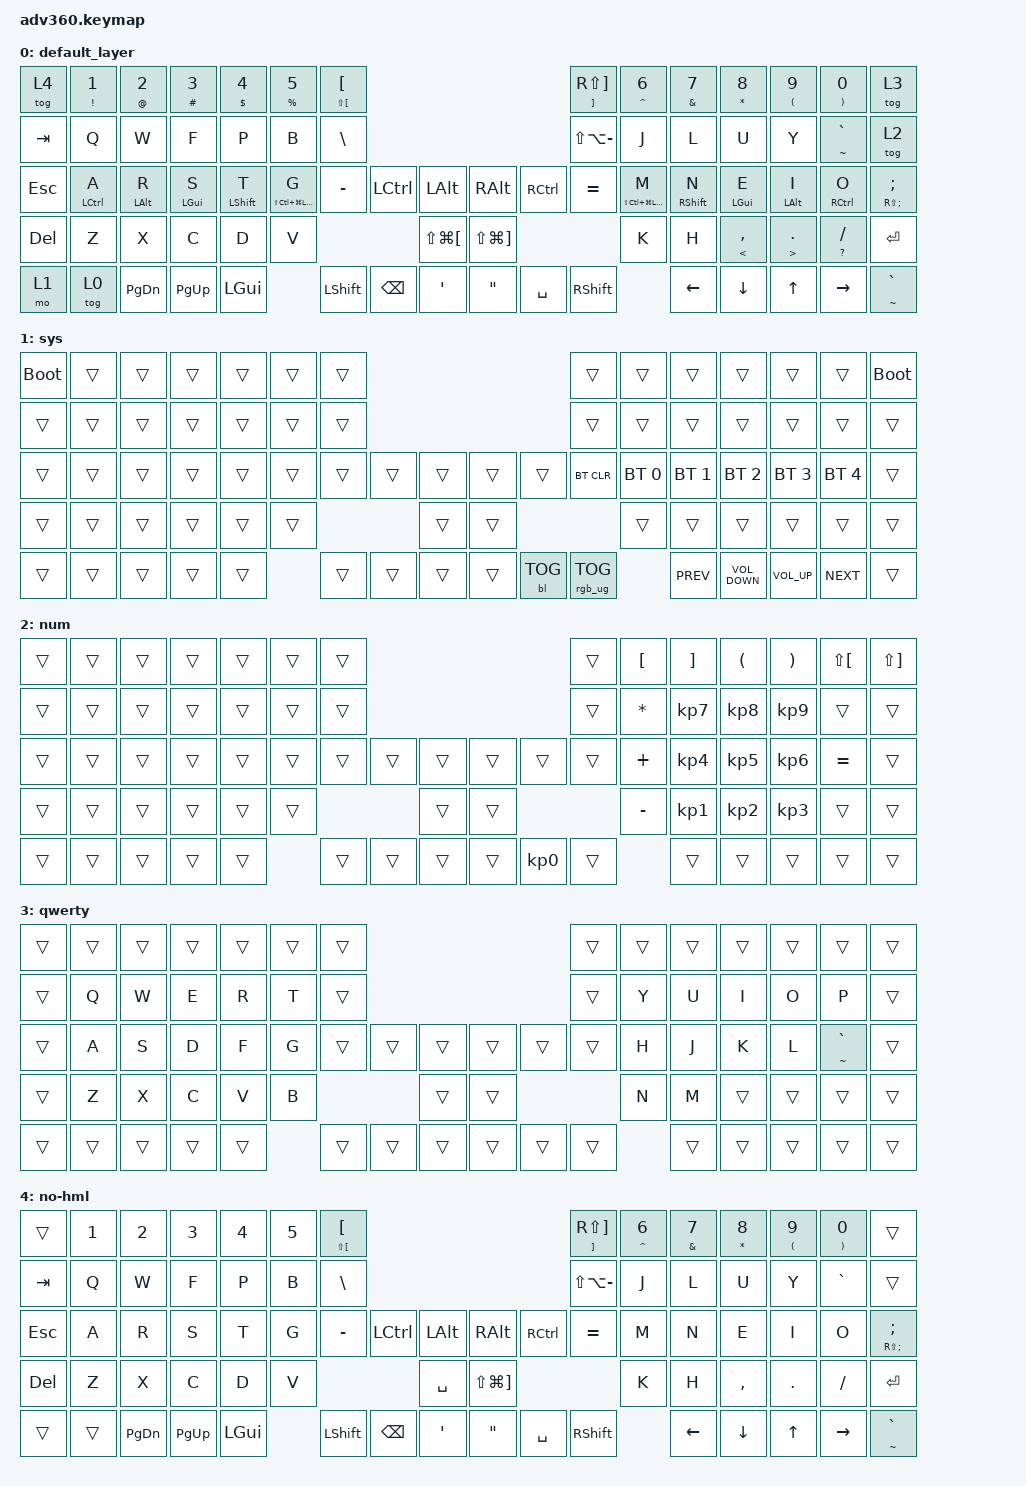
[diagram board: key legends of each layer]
#include <behaviors.dtsi>
#include <dt-bindings/zmk/backlight.h>
#include <dt-bindings/zmk/bt.h>
#include <dt-bindings/zmk/keys.h>
#include <dt-bindings/zmk/keys.h>
#include <dt-bindings/zmk/rgb.h>

/ {
    behaviors {
        #include "macros.dtsi"

        hm: homerow_mods {
            compatible = "zmk,behavior-hold-tap";
            label = "HOMEROW_MODS";
            #binding-cells = <2>;
            tapping-term-ms = <200>;
            quick_tap_ms = <175>;
            flavor = "tap-preferred";
            bindings = <&kp>, <&kp>;
        };

        hml: hml {
            compatible = "zmk,behavior-hold-tap";
            label = "HML";
            bindings = <&kp>, <&kp>;

            #binding-cells = <2>;
            tapping-term-ms = <280>;
            quick-tap-ms = <150>;
            global-quick-tap;
            flavor = "balanced";
            hold-trigger-key-positions = <7 8 9 10 11 12 13 21 22 23 24 25 26 27 38 39 40 41 42 43 44 45 54 55 56 57 58 59 71 72 73 74 75 35 36 37 38 52 53 65 66 67 68 69 70 71>;
            hold-trigger-on-release;
        };

        cpy_pst: cpy_pst {
            compatible = "zmk,behavior-tap-dance";
            label = "CPY_PST";
            #binding-cells = <0>;
            bindings = <&kp LC(C)>, <&kp LC(V)>;

            tapping-term-ms = <125>;
        };

        hmr: hmr {
            compatible = "zmk,behavior-hold-tap";
            label = "HMR";
            bindings = <&kp>, <&kp>;

            #binding-cells = <2>;
            tapping-term-ms = <280>;
            quick-tap-ms = <175>;
            global-quick-tap;
            flavor = "balanced";
            hold-trigger-key-positions = <0 1 2 3 4 5 6 14 15 16 17 18 19 20 28 29 30 31 32 33 34 35 36 37 38 46 47 48 49 50 51 52 53 60 61 62 63 64 65 66 67 68 69 70>;
            hold-trigger-on-release;
        };
    };

    combos {
        compatible = "zmk,combos";

        sleep {
            bindings = <&kt LA(LG(C_EJECT))>;
            key-positions = <0 13>;
        };
    };

    keymap {
        compatible = "zmk,keymap";

        default_layer {
            bindings = <
&tog 4      &mt EXCLAMATION NUMBER_1  &mt AT_SIGN NUMBER_2  &mt HASH NUMBER_3  &mt DOLLAR NUMBER_4  &mt PERCENT NUMBER_5         &mt LS(LBKT) LBKT                                                                     &mt RBKT RS(RBKT)  &mt CARET NUMBER_6           &mt AMPERSAND NUMBER_7  &mt ASTERISK NUMBER_8  &mt LEFT_PARENTHESIS NUMBER_9  &mt RIGHT_PARENTHESIS NUMBER_0  &tog 3
&kp TAB     &kp Q                     &kp W                 &kp F              &kp P                &kp B                        &kp BACKSLASH                                                                         &kp LS(LA(MINUS))  &kp J                        &kp L                   &kp U                  &kp Y                          &mt TILDE GRAVE                 &tog 2
&kp ESC     &hml LCTRL A              &hml LEFT_ALT R       &hml LGUI S        &hml LSHIFT T        &hml LS(LC(LG(LEFT_ALT))) G  &kp MINUS          &kp LCTRL      &kp LALT              &kp RALT           &kp RCTRL  &kp EQUAL          &hmr LS(LC(LG(LEFT_ALT))) M  &hmr RIGHT_SHIFT N      &hmr LEFT_GUI E        &hmr LEFT_ALT I                &hmr RCTRL O                    &mt RS(SEMI) SEMI
&kp DELETE  &kp Z                     &kp X                 &kp C              &kp D                &kp V                                                          &kp LS(LG(LBKT))      &kp LS(LG(RBKT))                                 &kp K                        &kp H                   &mt LESS_THAN COMMA    &mt GREATER_THAN PERIOD        &mt QUESTION FSLH               &kp ENTER
&mo 1       &tog 0                    &kp PG_DN             &kp PG_UP          &kp LGUI                                          &kp LSHFT          &kp BACKSPACE  &kp SINGLE_QUOTE      &kp DOUBLE_QUOTES  &kp SPACE  &kp RSHFT                                       &kp LEFT                &kp DOWN               &kp UP                         &kp RIGHT                       &mt TILDE GRAVE
            >;
        };

        sys {
            bindings = <
&bootloader  &trans  &trans  &trans  &trans  &trans  &trans                                          &trans           &trans        &trans        &trans             &trans        &trans        &bootloader
&trans       &trans  &trans  &trans  &trans  &trans  &trans                                          &trans           &trans        &trans        &trans             &trans        &trans        &trans
&trans       &trans  &trans  &trans  &trans  &trans  &trans  &trans  &trans      &trans  &trans      &bt BT_CLR       &bt BT_SEL 0  &bt BT_SEL 1  &bt BT_SEL 2       &bt BT_SEL 3  &bt BT_SEL 4  &trans
&trans       &trans  &trans  &trans  &trans  &trans                  &trans      &trans                               &trans        &trans        &trans             &trans        &trans        &trans
&trans       &trans  &trans  &trans  &trans          &trans  &trans  &trans      &trans  &bl BL_TOG  &rgb_ug RGB_TOG                &kp C_PREV    &kp C_VOLUME_DOWN  &kp C_VOL_UP  &kp C_NEXT    &trans
            >;

            label = "sys";
        };

        num {
            bindings = <
&trans  &trans  &trans  &trans  &trans  &trans  &trans                                               &trans  &kp LBKT      &kp RBKT         &kp LEFT_PARENTHESIS  &kp RIGHT_PARENTHESIS  &kp LS(LBKT)  &kp LS(RBKT)
&trans  &trans  &trans  &trans  &trans  &trans  &trans                                               &trans  &kp ASTERISK  &kp KP_NUMBER_7  &kp KP_NUMBER_8       &kp KP_NUMBER_9        &trans        &trans
&trans  &trans  &trans  &trans  &trans  &trans  &trans  &trans  &trans      &trans  &trans           &trans  &kp PLUS      &kp KP_NUMBER_4  &kp KP_NUMBER_5       &kp KP_NUMBER_6        &kp EQUAL     &trans
&trans  &trans  &trans  &trans  &trans  &trans                  &trans      &trans                           &kp MINUS     &kp KP_NUMBER_1  &kp KP_NUMBER_2       &kp KP_NUMBER_3        &trans        &trans
&trans  &trans  &trans  &trans  &trans          &trans  &trans  &trans      &trans  &kp KP_NUMBER_0  &trans                &trans           &trans                &trans                 &trans        &trans
            >;

            label = "num";
        };

        qwerty {
            bindings = <
&trans  &trans  &trans  &trans  &trans  &trans  &trans                                      &trans  &trans  &trans  &trans  &trans  &trans           &trans
&trans  &kp Q   &kp W   &kp E   &kp R   &kp T   &trans                                      &trans  &kp Y   &kp U   &kp I   &kp O   &kp P            &trans
&trans  &kp A   &kp S   &kp D   &kp F   &kp G   &trans  &trans  &trans      &trans  &trans  &trans  &kp H   &kp J   &kp K   &kp L   &mt TILDE GRAVE  &trans
&trans  &kp Z   &kp X   &kp C   &kp V   &kp B                   &trans      &trans                  &kp N   &kp M   &trans  &trans  &trans           &trans
&trans  &trans  &trans  &trans  &trans          &trans  &trans  &trans      &trans  &trans  &trans          &trans  &trans  &trans  &trans           &trans
            >;
        };

        no-hml {
            bindings = <
&trans      &kp N1  &kp N2     &kp N3     &kp N4    &kp N5  &mt LS(LBKT) LBKT                                                                     &mt RBKT RS(RBKT)  &mt CARET NUMBER_6  &mt AMPERSAND NUMBER_7  &mt ASTERISK NUMBER_8  &mt LEFT_PARENTHESIS NUMBER_9  &mt RIGHT_PARENTHESIS NUMBER_0  &trans
&kp TAB     &kp Q   &kp W      &kp F      &kp P     &kp B   &kp BACKSLASH                                                                         &kp LS(LA(MINUS))  &kp J               &kp L                   &kp U                  &kp Y                          &kp GRAVE                       &trans
&kp ESC     &kp A   &kp R      &kp S      &kp T     &kp G   &kp MINUS          &kp LCTRL      &kp LALT              &kp RALT           &kp RCTRL  &kp EQUAL          &kp M               &kp N                   &kp E                  &kp I                          &kp O                           &mt RS(SEMI) SEMI
&kp DELETE  &kp Z   &kp X      &kp C      &kp D     &kp V                                     &kp SPACE             &kp LS(LG(RBKT))                                 &kp K               &kp H                   &kp COMMA              &kp DOT                        &kp FSLH                        &kp ENTER
&trans      &trans  &kp PG_DN  &kp PG_UP  &kp LGUI          &kp LSHFT          &kp BACKSPACE  &kp SINGLE_QUOTE      &kp DOUBLE_QUOTES  &kp SPACE  &kp RSHFT                              &kp LEFT                &kp DOWN               &kp UP                         &kp RIGHT                       &mt TILDE GRAVE
            >;
        };
    };
};
